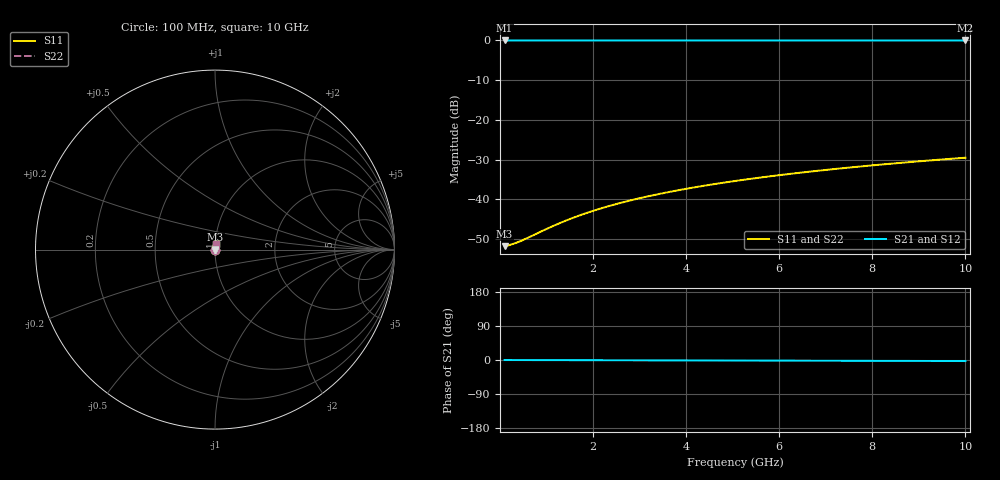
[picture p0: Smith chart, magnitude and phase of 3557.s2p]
# Hz S RI R 50.00
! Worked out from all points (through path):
!   100 points, 100 MHz to 10 GHz, reference 50 ohm
!   highest |S21| = -0.02 dB at 100 MHz (marker M1); lowest = 0.0 dB at 10 GHz (marker M2)
!   lowest |S11| = -51.8 dB at 100 MHz (marker M3), VSWR 1.01, Z = 50.3 + j0.0333 ohm
!   |S11| at or under -10 dB: start of sweep to end of sweep
!   |S22| runs from -51.8 to -29.5 dB; largest |S21 - S12| = 0
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1e8  0.00256 0.000332  0.9974 -0.000484  0.9974 -0.000484  0.00256 0.000332
2e8  0.00258 0.000664  0.9974 -0.000968  0.9974 -0.000968  0.00258 0.000664
3e8  0.00259 0.000995  0.9974 -0.00145  0.9974 -0.00145  0.00259 0.000995
4e8  0.0026 0.00133  0.9974 -0.00194  0.9974 -0.00194  0.0026 0.00133
6e8  0.00262 0.00199  0.9974 -0.0029  0.9974 -0.0029  0.00262 0.00199
1e9  0.00266 0.00332  0.9973 -0.00484  0.9973 -0.00484  0.00266 0.00332
1.2e9  0.00267 0.00398  0.9973 -0.00581  0.9973 -0.00581  0.00267 0.00398
1.5e9  0.0027 0.00498  0.9973 -0.00726  0.9973 -0.00726  0.0027 0.00498
1.8e9  0.00273 0.00597  0.9973 -0.00871  0.9973 -0.00871  0.00273 0.00597
2.1e9  0.00275 0.00697  0.9972 -0.0102  0.9972 -0.0102  0.00275 0.00697
2.5e9  0.0028 0.00829  0.9972 -0.0121  0.9972 -0.0121  0.0028 0.00829
2.9e9  0.00284 0.00962  0.9971 -0.014  0.9971 -0.014  0.00284 0.00962
3.4e9  0.0029 0.0113  0.9971 -0.0165  0.9971 -0.0165  0.0029 0.0113
3.8e9  0.00296 0.0126  0.997 -0.0184  0.997 -0.0184  0.00296 0.0126
4.2e9  0.00302 0.0139  0.997 -0.0203  0.997 -0.0203  0.00302 0.0139
4.6e9  0.00308 0.0153  0.9969 -0.0223  0.9969 -0.0223  0.00308 0.0153
5.1e9  0.00317 0.0169  0.9968 -0.0247  0.9968 -0.0247  0.00317 0.0169
5.9e9  0.00333 0.0196  0.9966 -0.0286  0.9966 -0.0286  0.00333 0.0196
6.7e9  0.00351 0.0222  0.9964 -0.0324  0.9964 -0.0324  0.00351 0.0222
7.5e9  0.0037 0.0249  0.9962 -0.0363  0.9962 -0.0363  0.0037 0.0249
8.4e9  0.00395 0.0279  0.996 -0.0407  0.996 -0.0407  0.00395 0.0279
1e10  0.00445 0.0332  0.9954 -0.0484  0.9954 -0.0484  0.00445 0.0332
